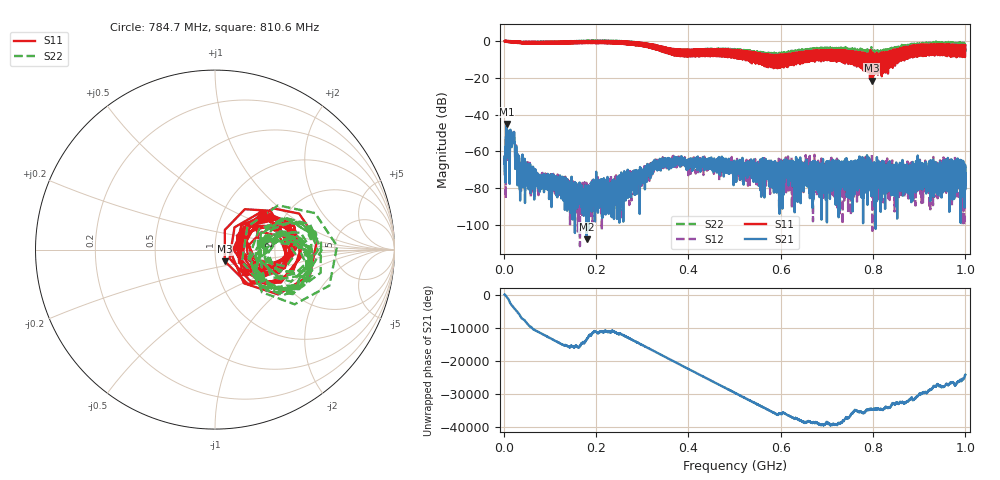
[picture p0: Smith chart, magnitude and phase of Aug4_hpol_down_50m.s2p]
!Keysight Technologies N9923A: A.12.45
!Date: Tuesday, 05 August 2025 19:16:02
!Timezone: (UTC+08:00) Kuala Lumpur, Singapore
!Model: N9923A
!Serial: MY61181427
!GPS Latitude:
!GPS Longitude:
!GPS TimeStamp: 0001-01-01 00:00:00Z
!GPS Seconds Since Last Read: 0
!CHECKSUM:1296963178
!Correction: S11(ON U)S21(ON U)S12(ON U)S22(ON U)
!S2P File: Measurements:S11,S21,S12,S22:
# Hz S DB R 50
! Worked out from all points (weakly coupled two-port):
!   4001 points, 2 MHz to 1 GHz, reference 50 ohm
!   highest |S21| = -45.10 dB at 6.491 MHz (marker M1); lowest = -107.7 dB at 179.4 MHz (marker M2)
!   lowest |S11| = -21.5 dB at 796.9 MHz (marker M3), VSWR 1.18, Z = 55.3 - j7.15 ohm
!   |S11| at or under -10 dB: 575.8184 MHz to 576.6049 MHz (786.5 kHz wide, 0.137 % of centre); 582.5665 MHz to 583.365 MHz (798.5 kHz wide, 0.137 % of centre); 589.3183 MHz to 590.1191 MHz (800.8 kHz wide, 0.136 % of centre)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
!   |S22| runs from -15.7 to 0.3 dB; largest |S21 - S12| = 0.0012
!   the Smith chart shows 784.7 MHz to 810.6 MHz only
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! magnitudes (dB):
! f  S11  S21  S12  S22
! 2 MHz  -0.1  -66.8  -66.8  -0.1
! 6.491 MHz  0.0  -45.1  -45.0  0.0
! 18.97 MHz  -0.7  -52.5  -52.4  -0.7
! 34.44 MHz  -1.0  -74.2  -73.1  -1.1
! 52.15 MHz  -0.8  -67.0  -65.9  -0.7
! 78.1 MHz  -1.2  -80.7  -81.0  -1.1
! 168.4 MHz  -1.2  -78.3  -87.9  -1.0
! 179.4 MHz  0.0  -107.7  -77.1  0.1
! 279.7 MHz  -1.0  -72.5  -75.7  -1.3
! 334.8 MHz  -3.8  -66.4  -66.4  -4.5
! 386 MHz  -7.2  -65.9  -65.8  -6.1
! 501 MHz  -5.7  -68.4  -72.0  -6.5
! 588.1 MHz  -14.5  -74.4  -67.0  -11.0
! 667.4 MHz  -8.8  -67.4  -77.6  -8.7
! 748.3 MHz  -8.9  -85.2  -70.7  -9.2
! 766 MHz  -7.7  -73.9  -69.7  -4.4
! 796.9 MHz  -21.5  -66.7  -70.4  -7.3
! 833.8 MHz  -10.5  -65.9  -78.2  -5.3
! 842.8 MHz  -9.6  -73.0  -83.0  -10.8
! 938.1 MHz  -4.2  -78.1  -74.7  -1.2
! 948.4 MHz  -6.3  -85.1  -71.1  -1.0
! 1 GHz  -2.4  -71.8  -72.5  -2.2
